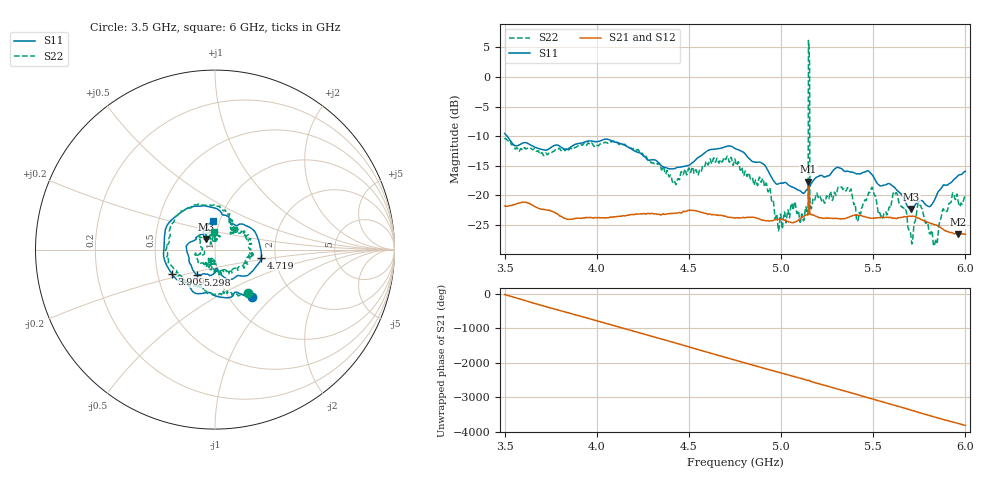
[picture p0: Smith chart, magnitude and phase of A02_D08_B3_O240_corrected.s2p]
! Created with skrf 1.9.0 (http://scikit-rf.org).
# Hz S RI R 50.0
!freq ReS11 ImS11 ReS21 ImS21 ReS12 ImS12 ReS22 ImS22
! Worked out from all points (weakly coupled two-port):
!   1601 points, 3.5 GHz to 6 GHz, reference 50 ohm
!   highest |S21| = -17.70 dB at 5.148 GHz (marker M1); lowest = -26.6 dB at 5.959 GHz (marker M2)
!   lowest |S11| = -22.3 dB at 5.706 GHz (marker M3), VSWR 1.17, Z = 44.9 + j5.23 ohm
!   |S11| at or under -10 dB: 3.514 GHz to end of sweep
!   |S22| runs from -28.6 to 6.2 dB; largest |S21 - S12| = 0.0012
!   S11 on the Smith chart (normalised r, x): 3.5 GHz: 1.27, -0.75; 3.909 GHz: 0.59, -0.17; 4.719 GHz: 1.68, -0.16; 5.298 GHz: 0.79, -0.23; 6 GHz: 0.93, +0.31
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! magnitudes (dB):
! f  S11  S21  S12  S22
! 3.5 GHz  -9.5  -21.8  -21.8  -10.3
! 3.909 GHz  -11.2  -23.9  -23.8  -11.4
! 3.917 GHz  -11.2  -23.9  -23.9  -11.5
! 4.334 GHz  -14.5  -23.2  -23.1  -14.6
! 4.422 GHz  -15.5  -23.0  -23.0  -17.5
! 4.719 GHz  -11.6  -23.7  -23.7  -14.4
! 4.75 GHz  -12.1  -23.8  -23.8  -13.9
! 4.911 GHz  -14.9  -24.2  -24.2  -18.5
! 4.995 GHz  -17.9  -24.1  -24.0  -23.3
! 5.134 GHz  -19.2  -23.3  -23.3  -21.9
! 5.142 GHz  -19.0  -23.3  -23.3  -23.3
! 5.148 GHz  -18.8  -17.7  -17.7  6.2
! 5.161 GHz  -18.2  -23.2  -23.2  -21.9
! 5.167 GHz  -17.8  -23.3  -23.3  -21.8
! 5.298 GHz  -15.3  -23.9  -23.9  -19.9
! 5.584 GHz  -18.0  -23.7  -23.7  -22.2
! 5.622 GHz  -18.9  -23.9  -23.9  -19.6
! 5.706 GHz  -22.3  -23.5  -23.5  -27.4
! 5.753 GHz  -20.9  -24.0  -24.0  -21.7
! 5.838 GHz  -20.5  -25.0  -25.0  -27.7
! 5.959 GHz  -16.7  -26.6  -26.5  -20.7
! 6 GHz  -15.9  -26.6  -26.5  -20.0
